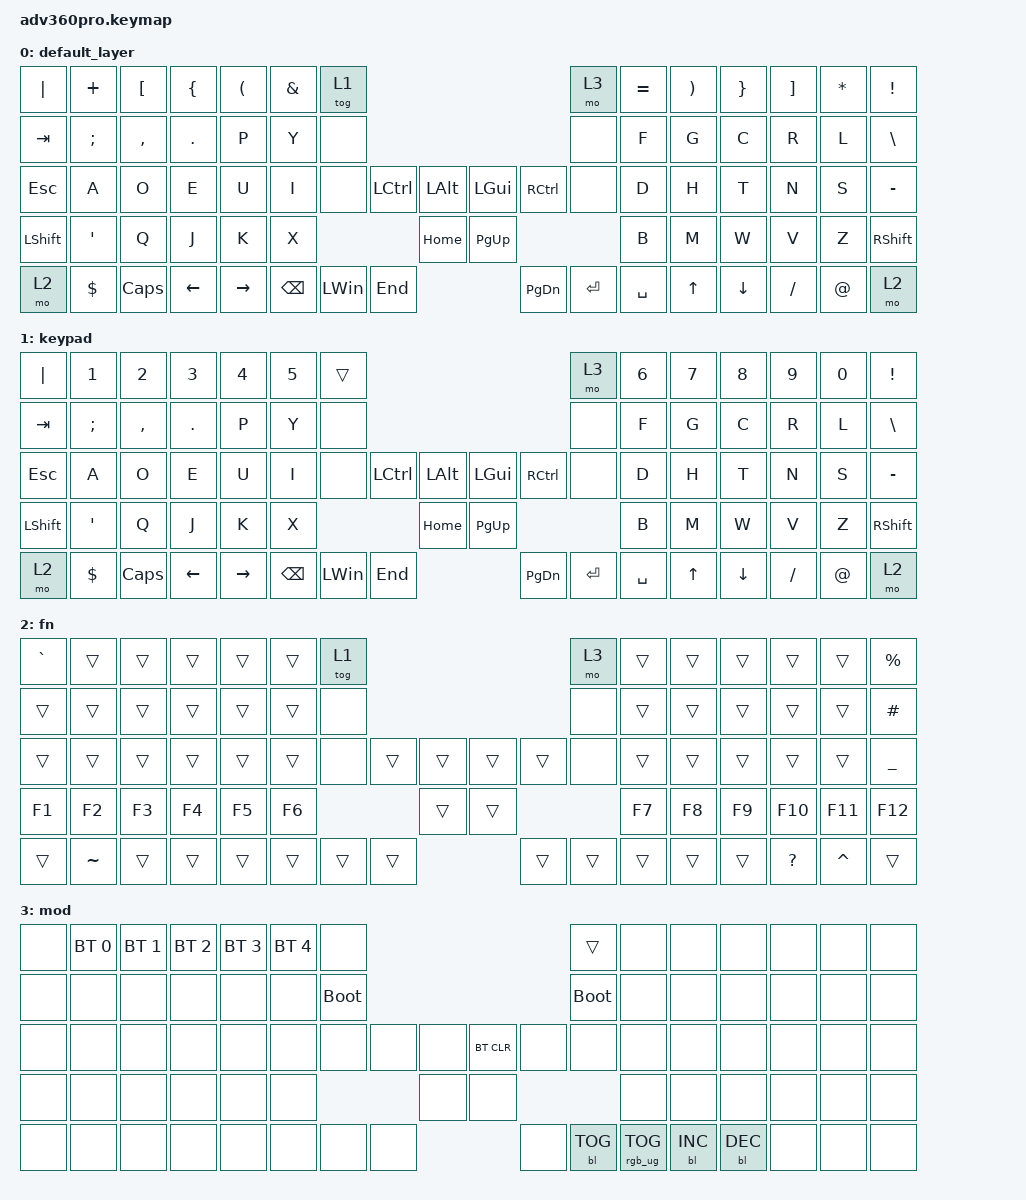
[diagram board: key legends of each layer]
#include <behaviors.dtsi>
#include <dt-bindings/zmk/backlight.h>
#include <dt-bindings/zmk/bt.h>
#include <dt-bindings/zmk/keys.h>
#include <dt-bindings/zmk/rgb.h>

/ {
    keymap {
        compatible = "zmk,keymap";

        default_layer {
            bindings = <
&kp PIPE   &kp PLUS       &kp LEFT_BRACKET  &kp LEFT_BRACE  &kp LEFT_PARENTHESIS  &kp AMPERSAND  &tog 1                                                                       &mo 3  &kp EQUAL  &kp RIGHT_PARENTHESIS  &kp RIGHT_BRACE  &kp RIGHT_BRACKET  &kp ASTERISK  &kp EXCLAMATION
&kp TAB    &kp SEMICOLON  &kp COMMA         &kp PERIOD      &kp P                 &kp Y          &none                                                                        &none  &kp F      &kp G                  &kp C            &kp R              &kp L         &kp BACKSLASH
&kp ESC    &kp A          &kp O             &kp E           &kp U                 &kp I          &none             &kp LCTRL     &kp LALT    &kp LGUI   &kp RCTRL             &none  &kp D      &kp H                  &kp T            &kp N              &kp S         &kp MINUS
&kp LSHFT  &kp SQT        &kp Q             &kp J           &kp K                 &kp X                                          &kp HOME    &kp PG_UP                               &kp B      &kp M                  &kp W            &kp V              &kp Z         &kp RSHFT
&mo 2      &kp DOLLAR     &kp CAPS          &kp LEFT        &kp RIGHT                                    &kp BSPC  &kp LEFT_WIN  &kp END     &kp PG_DN  &kp ENTER  &kp SPACE                    &kp UP                 &kp DOWN         &kp SLASH          &kp AT_SIGN   &mo 2
            >;
        };

        keypad {
            bindings = <
&kp PIPE        &kp N1         &kp N2     &kp N3      &kp N4     &kp N5  &trans                                                                       &mo 3  &kp N6  &kp N7  &kp N8    &kp N9     &kp N0       &kp EXCLAMATION
&kp TAB         &kp SEMICOLON  &kp COMMA  &kp PERIOD  &kp P      &kp Y   &none                                                                        &none  &kp F   &kp G   &kp C     &kp R      &kp L        &kp BACKSLASH
&kp ESC         &kp A          &kp O      &kp E       &kp U      &kp I   &none             &kp LCTRL     &kp LALT    &kp LGUI   &kp RCTRL             &none  &kp D   &kp H   &kp T     &kp N      &kp S        &kp MINUS
&kp LEFT_SHIFT  &kp SQT        &kp Q      &kp J       &kp K      &kp X                                   &kp HOME    &kp PG_UP                               &kp B   &kp M   &kp W     &kp V      &kp Z        &kp RSHFT
&mo 2           &kp DOLLAR     &kp CAPS   &kp LEFT    &kp RIGHT                  &kp BSPC  &kp LEFT_WIN  &kp END     &kp PG_DN  &kp ENTER  &kp SPACE                 &kp UP  &kp DOWN  &kp SLASH  &kp AT_SIGN  &mo 2
            >;
        };

        fn {
            bindings = <
&kp GRAVE  &trans     &trans  &trans  &trans  &trans  &tog 1                                                    &mo 3  &trans  &trans  &trans  &trans        &trans     &kp PERCENT
&trans     &trans     &trans  &trans  &trans  &trans  &none                                                     &none  &trans  &trans  &trans  &trans        &trans     &kp HASH
&trans     &trans     &trans  &trans  &trans  &trans  &none           &trans  &trans    &trans  &trans          &none  &trans  &trans  &trans  &trans        &trans     &kp UNDERSCORE
&kp F1     &kp F2     &kp F3  &kp F4  &kp F5  &kp F6                          &trans    &trans                         &kp F7  &kp F8  &kp F9  &kp F10       &kp F11    &kp F12
&trans     &kp TILDE  &trans  &trans  &trans                  &trans  &trans  &trans    &trans  &trans  &trans                 &trans  &trans  &kp QUESTION  &kp CARET  &trans
            >;
        };

        mod {
            bindings = <
&none  &bt BT_SEL 0  &bt BT_SEL 1  &bt BT_SEL 2  &bt BT_SEL 3  &bt BT_SEL 4  &none                                                                        &trans       &none  &none       &none       &none  &none  &none
&none  &none         &none         &none         &none         &none         &bootloader                                                                  &bootloader  &none  &none       &none       &none  &none  &none
&none  &none         &none         &none         &none         &none         &none               &none  &none    &bt BT_CLR  &none                        &none        &none  &none       &none       &none  &none  &none
&none  &none         &none         &none         &none         &none                                    &none    &none                                                 &none  &none       &none       &none  &none  &none
&none  &none         &none         &none         &none                                    &none  &none  &none    &none       &bl BL_TOG  &rgb_ug RGB_TOG                      &bl BL_INC  &bl BL_DEC  &none  &none  &none
            >;
        };
    };
};
